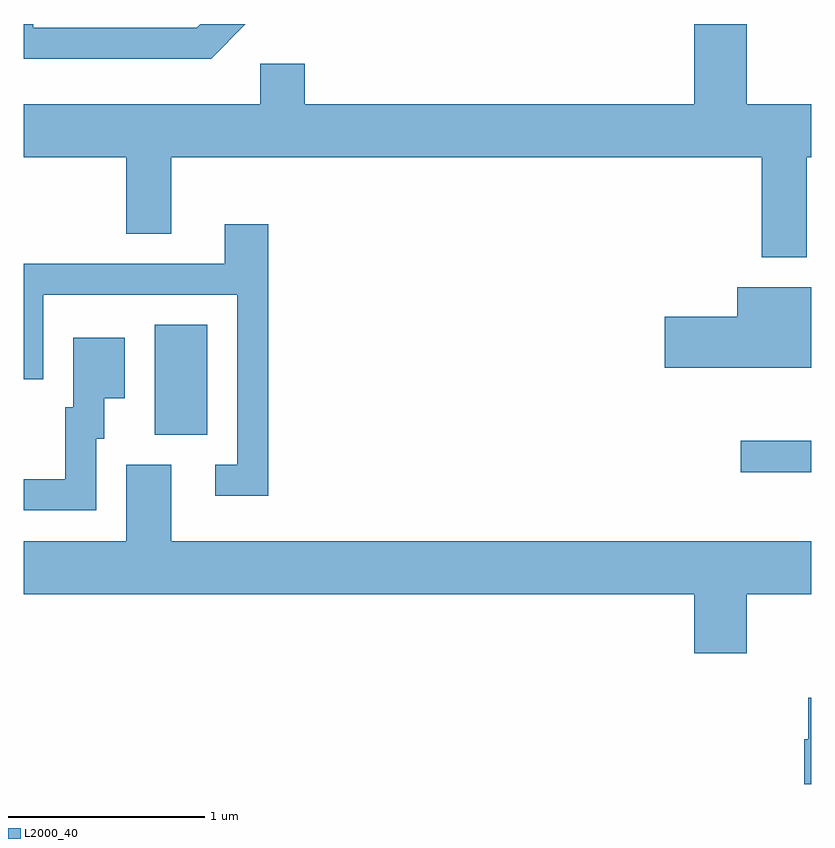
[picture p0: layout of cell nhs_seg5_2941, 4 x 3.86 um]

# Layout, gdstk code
import gdstk
lib = gdstk.Library(unit=1e-6, precision=1e-09)
def R(c, l, rs):  # rectangles x0, y0, x1, y1
    for r in rs: c.add(gdstk.rectangle(r[:2], r[2:], *l))
def P(c, l, *ps):  # polygons
    for p in ps: c.add(gdstk.Polygon(p, *l))
L2000_40 = (2000, 40)

nhs_seg5_2941 = lib.new_cell('nhs_seg5_2941')
R(nhs_seg5_2941, L2000_40, [(275.253,1521.796,275.611,1521.954), (272.276,1521.986,272.544,1522.544)])
P(nhs_seg5_2941, L2000_40, [(275.589,1523.396),(275.611,1523.396),(275.611,1523.664),(275.284,1523.664),(275.284,1524.072),(275.016,1524.072),(275.016,1523.664),(273.039,1523.664),(273.039,1523.869),(272.811,1523.869),(272.811,1523.664),(271.611,1523.664),(271.611,1523.396),(272.131,1523.396),(272.131,1523.006),(272.359,1523.006),(272.359,1523.396),(275.361,1523.396),(275.361,1522.886),(275.589,1522.886)],
  [(272.737,1524.072),(272.507,1524.072),(272.489,1524.054),(271.659,1524.054),(271.659,1524.072),(271.611,1524.072),(271.611,1523.896),(272.562,1523.896)],
  [(272.854,1523.054),(272.631,1523.054),(272.631,1522.854),(271.611,1522.854),(271.611,1522.268),(271.709,1522.268),(271.709,1522.696),(272.696,1522.696),(272.696,1521.834),(272.583,1521.834),(272.583,1521.676),(272.854,1521.676)],
  [(275.611,1522.734),(275.236,1522.734),(275.236,1522.584),(274.866,1522.584),(274.866,1522.326),(275.611,1522.326)],
  [(271.979,1521.966),(272.019,1521.966),(272.019,1522.171),(272.124,1522.171),(272.124,1522.479),(271.861,1522.479),(271.861,1522.124),(271.821,1522.124),(271.821,1521.759),(271.611,1521.759),(271.611,1521.601),(271.979,1521.601)],
  [(275.284,1521.176),(275.611,1521.176),(275.611,1521.444),(272.359,1521.444),(272.359,1521.834),(272.131,1521.834),(272.131,1521.444),(271.611,1521.444),(271.611,1521.176),(275.016,1521.176),(275.016,1520.876),(275.284,1520.876)],
  [(275.611,1520.649),(275.596,1520.649),(275.596,1520.439),(275.576,1520.439),(275.576,1520.211),(275.611,1520.211)])

lib.write_gds('nhs_seg5_2941.gds')
